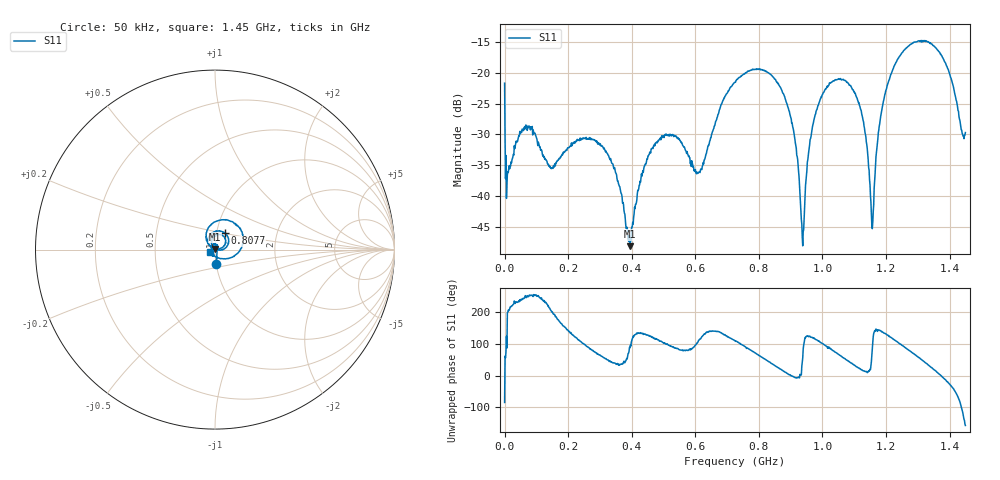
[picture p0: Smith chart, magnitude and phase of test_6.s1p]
! Created with skrf 1.11.0 (http://scikit-rf.org).
# Hz S RI R 50.0
!freq ReS11 ImS11
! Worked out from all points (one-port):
!   1001 points, 50 kHz to 1.45 GHz, reference 50 ohm
!   lowest |S11| = -48.2 dB at 394.4 MHz (marker M1), VSWR 1.01, Z = 50 + j0.389 ohm
!   |S11| at or under -10 dB: start of sweep to end of sweep
!   S11 on the Smith chart (normalised r, x): 50 kHz: 1.00, -0.17; 807.7 MHz: 1.10, +0.20; 1.45 GHz: 0.94, -0.02
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50000  0.00701 -0.0825
1.019965e7  -0.0147 -0.00552
6.239785e7  -0.0156 -0.0329
1.45045e8  -0.015 -0.00751
1.812938e8  -0.0206 0.00727
2.827902e8  0.00739 0.0274
3.625375e8  0.00984 0.00662
3.944364e8  0.000156 0.00389
4.248854e8  -0.00843 0.00891
4.582342e8  -0.0127 0.019
5.437812e8  0.00224 0.0292
6.133788e8  -0.00641 0.0143
7.25025e8  -0.0286 0.0791
8.076722e8  0.0556 0.0912
8.656702e8  0.0727 0.0284
9.062688e8  0.0369 -0.0015
9.381676e8  0.00221 0.00323
9.599169e8  -0.0149 0.0214
9.889159e8  -0.019 0.0535
1.035314e9  0.0182 0.0847
1.087512e9  0.0594 0.0524
1.129561e9  0.0387 0.0103
1.15711e9  0.000292 0.0054
1.175959e9  -0.0261 0.0194
1.196259e9  -0.0458 0.0481
1.268756e9  0.0214 0.1628
1.371703e9  0.1422 0.0031
1.45e9  -0.0304 -0.0123
